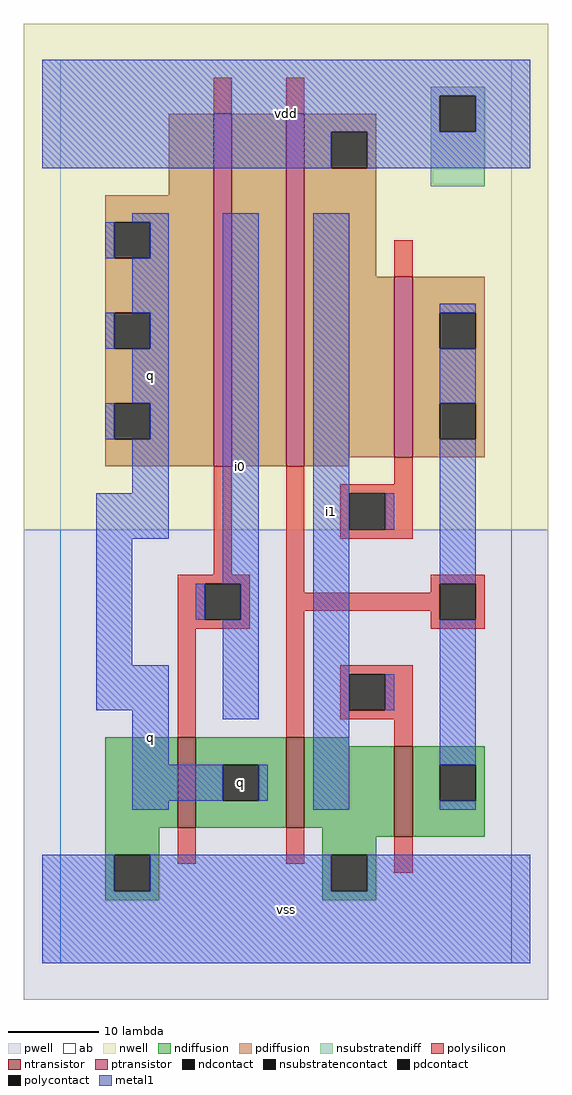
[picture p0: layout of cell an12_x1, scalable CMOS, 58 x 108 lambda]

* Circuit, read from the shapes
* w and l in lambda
.subckt an12_x1 i0 i1 q vdd vss
M1 q i0 vss VSUBS nfet w=10 l=2
M2 vss n1 q VSUBS nfet w=10 l=2
M3 n1 i1 vss VSUBS nfet w=10 l=2
M4 n2 i0 q vdd pfet w=39 l=2
M5 vdd n1 n2 vdd pfet w=39 l=2
M6 n1 i1 vdd vdd pfet w=20 l=2
.ends

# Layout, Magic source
magic
tech scmos
<< ab >>
rect 0 0 50 100
<< pwell >>
rect -4 -4 54 48
<< nwell >>
rect -4 48 54 104
<< polysilicon >>
rect 17 94 19 98
rect 25 94 27 98
rect 37 76 39 80
rect 17 43 19 55
rect 13 42 21 43
rect 13 38 16 42
rect 20 38 21 42
rect 13 37 21 38
rect 25 41 27 55
rect 37 53 39 56
rect 31 52 39 53
rect 31 48 32 52
rect 36 48 39 52
rect 31 47 39 48
rect 41 42 47 43
rect 41 41 42 42
rect 25 39 42 41
rect 13 25 15 37
rect 25 25 27 39
rect 41 38 42 39
rect 46 38 47 42
rect 41 37 47 38
rect 31 32 39 33
rect 31 28 32 32
rect 36 28 39 32
rect 31 27 39 28
rect 37 24 39 27
rect 13 11 15 15
rect 25 11 27 15
rect 37 10 39 14
<< ndiffusion >>
rect 5 15 13 25
rect 15 22 25 25
rect 15 18 18 22
rect 22 18 25 22
rect 15 15 25 18
rect 27 24 32 25
rect 27 15 37 24
rect 5 12 11 15
rect 5 8 6 12
rect 10 8 11 12
rect 29 14 37 15
rect 39 22 47 24
rect 39 18 42 22
rect 46 18 47 22
rect 39 14 47 18
rect 29 12 35 14
rect 5 7 11 8
rect 29 8 30 12
rect 34 8 35 12
rect 29 7 35 8
<< pdiffusion >>
rect 12 85 17 94
rect 5 82 17 85
rect 5 78 6 82
rect 10 78 17 82
rect 5 72 17 78
rect 5 68 6 72
rect 10 68 17 72
rect 5 62 17 68
rect 5 58 6 62
rect 10 58 17 62
rect 5 55 17 58
rect 19 55 25 94
rect 27 92 35 94
rect 27 88 30 92
rect 34 88 35 92
rect 27 76 35 88
rect 27 56 37 76
rect 39 72 47 76
rect 39 68 42 72
rect 46 68 47 72
rect 39 62 47 68
rect 39 58 42 62
rect 46 58 47 62
rect 39 56 47 58
rect 27 55 32 56
<< metal1 >>
rect -2 96 52 100
rect -2 92 42 96
rect 46 92 52 96
rect -2 88 30 92
rect 34 88 52 92
rect 8 82 12 83
rect 5 78 6 82
rect 10 78 12 82
rect 8 72 12 78
rect 5 68 6 72
rect 10 68 12 72
rect 8 62 12 68
rect 5 58 6 62
rect 10 58 12 62
rect 8 52 12 58
rect 4 47 12 52
rect 4 33 8 47
rect 18 42 22 83
rect 15 38 16 42
rect 20 38 22 42
rect 4 28 12 33
rect 8 22 12 28
rect 18 27 22 38
rect 8 18 18 22
rect 22 18 23 22
rect 8 17 12 18
rect 28 17 32 83
rect 42 72 46 73
rect 42 62 46 68
rect 36 48 37 52
rect 42 42 46 58
rect 36 28 37 32
rect 42 22 46 38
rect 42 17 46 18
rect -2 8 6 12
rect 10 8 30 12
rect 34 8 52 12
rect -2 0 52 8
<< ntransistor >>
rect 13 15 15 25
rect 25 15 27 25
rect 37 14 39 24
<< ptransistor >>
rect 17 55 19 94
rect 25 55 27 94
rect 37 56 39 76
<< polycontact >>
rect 16 38 20 42
rect 32 48 36 52
rect 42 38 46 42
rect 32 28 36 32
<< ndcontact >>
rect 18 18 22 22
rect 6 8 10 12
rect 42 18 46 22
rect 30 8 34 12
<< pdcontact >>
rect 6 78 10 82
rect 6 68 10 72
rect 6 58 10 62
rect 30 88 34 92
rect 42 68 46 72
rect 42 58 46 62
<< nsubstratencontact >>
rect 42 92 46 96
<< nsubstratendiff >>
rect 41 96 47 97
rect 41 92 42 96
rect 46 92 47 96
rect 41 86 47 92
<< labels >>
rlabel ndcontact 20 20 20 20 6 q
rlabel metal1 10 25 10 25 6 q
rlabel metal1 10 65 10 65 6 q
rlabel metal1 20 55 20 55 6 i0
rlabel metal1 25 6 25 6 6 vss
rlabel metal1 30 50 30 50 6 i1
rlabel metal1 25 94 25 94 6 vdd
<< end >>
